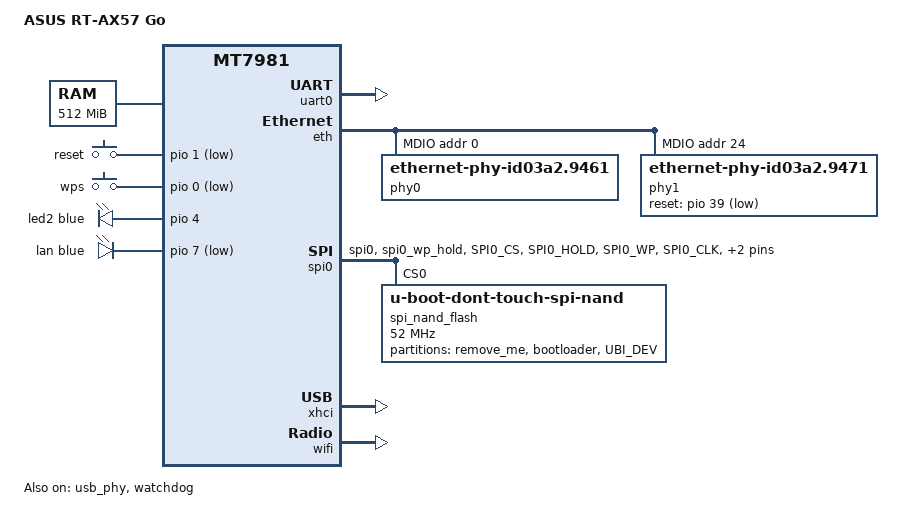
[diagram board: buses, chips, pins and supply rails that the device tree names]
// SPDX-License-Identifier: (GPL-2.0 OR MIT)

/dts-v1/;
#include "mt7981b.dtsi"
/ {
	model = "ASUS RT-AX57 Go";
	compatible = "asus,rt-ax57_go", "mediatek,mt7981";
	interrupt-parent = <0x01>;

	aliases {
		serial0 = &uart0;
		label-mac-device = &gmac0;
		led-boot = &led2;
		led-failsafe = &led2;
		led-running = &led2;
		led-upgrade = &led2;
	};

	chosen {
		stdout-path = "serial0:115200n8";
		bootargs-override = "";
	};

	memory@40000000 {
		reg = <0 0x40000000 0 0x20000000>;
		device_type = "memory";
	};

	keys {
		compatible = "gpio-keys";

		reset {
			label = "reset";
			gpios = <&pio 1 GPIO_ACTIVE_LOW>;
			linux,code = <KEY_RESTART>;
		};

		wps {
			label = "wps";
			gpios = <&pio 0 GPIO_ACTIVE_LOW>;
			linux,code = <KEY_WPS_BUTTON>;
		};
	};

	leds {
		compatible = "gpio-leds";

		led2: power {
			function = LED_FUNCTION_POWER;
			color = <LED_COLOR_ID_BLUE>;
			gpios = <&pio 4 GPIO_ACTIVE_HIGH>;
			default-state = "on";
		};

		lan {
			function = LED_FUNCTION_LAN;
			color = <LED_COLOR_ID_BLUE>;
			gpios = <&pio 7 GPIO_ACTIVE_LOW>;
		};

	};

	timer {
		clock-frequency = <13000000>;
	};
};

&uart0 {
	status = "okay";
};

&eth {
	#reset-cells = <0x01>;
	status = "okay";

	gmac0: mac@0 {
		/* LAN */
		compatible = "mediatek,eth-mac";
		reg = <0>;
		nvmem-cells = <&macaddr_factory_4>;
		nvmem-cell-names = "mac-address";
		phy-mode = "sgmii";
		phy-handle = <0x14>;
	};

	gmac1: mac@1 {
		/* WAN */
		compatible = "mediatek,eth-mac";
		reg = <1>;
		phy-mode = "gmii";
		phy-handle = <0x15>;
	};

	mdio-bus {
		#address-cells = <0x01>;
		#size-cells = <0x00>;

		phy0: ethernet-phy@0 {
			compatible = "ethernet-phy-id03a2.9461";
			reg = <0x00>;
			phy-mode = "gmii";
			nvmem-cells = <0x16>;
			nvmem-cell-names = "phy-cal-data";
			phandle = <0x15>;
		};

		phy1: ethernet-phy@5 {
			compatible = "ethernet-phy-id03a2.9471";
			reg = <0x18>;
			reset-gpios = <&pio 39 1>;
			reset-assert-us = <0x258>;
			reset-deassert-us = <0x4e20>;
			phy-mode = "sgmii";
			full-duplex;
			pause;
			phandle = <0x14>;
		};
	};

	
};

&spi0 {
	pinctrl-names = "default";
	pinctrl-0 = <&spi0_flash_pins>;
	status = "okay";

	spi_nand_flash: flash@0 {
		compatible = "u-boot-dont-touch-spi-nand";
		#address-cells = <1>;
		#size-cells = <1>;
		reg = <0>;

		spi-max-frequency = <52000000>;
		spi-tx-bus-width = <4>;
		spi-rx-bus-width = <4>;

		/*
		 * ASUS bootloader tries to replace the partitions defined in
		 * Device Tree and by that also deletes all additional properties
		 * needed for UBI and NVMEM-on-UBI.
		 * Prevent this from happening by tricking the loader to delete and
		 * replace a bait node instead (works with older bootloaders).
		 */
		partitions: dummy {
			compatible = "u-boot-dummy-partitions";
			#address-cells = <1>;
			#size-cells = <1>;

			partition@0 {
				reg = <0x0 0x0>;
				label = "remove_me";
			};
		};

		partitions {
			compatible = "fixed-partitions";
			#address-cells = <1>;
			#size-cells = <1>;

			partition@0 {
				reg = <0x0 0x400000>;
				label = "bootloader";
				read-only;
			};

			partition@400000 {
				compatible = "linux,ubi";
				reg = <0x400000 0x7c00000>;
				label = "UBI_DEV";

				volumes {
					ubi_factory: ubi-volume-factory {
						volname = "Factory";
					};
				};
			};
		};
	};
};

&ubi_factory {
	nvmem-layout {
		compatible = "fixed-layout";
		#address-cells = <1>;
		#size-cells = <1>;

		eeprom_factory_0: eeprom@0 {
			reg = <0x0 0x1000>;
		};

		macaddr_factory_4: macaddr@4 {
			reg = <0x4 0x6>;
		};

		precal_factory_1010: precal@1010 {
			reg = <0x1010 0x6f010>;
		};
	};
};

&usb_phy {
	status = "okay";
};

&xhci {
	status = "okay";
};

&pio {
	spi0_flash_pins: spi0-pins {
		phandle = <0x17>;

		mux {
			function = "spi";
			groups = "spi0", "spi0_wp_hold";
		};

		conf-pu {
			pins = "SPI0_CS", "SPI0_HOLD", "SPI0_WP";
			drive-strength = <MTK_DRIVE_8mA>;
			bias-pull-up = <MTK_PUPD_SET_R1R0_11>;
		};

		conf-pd {
			pins = "SPI0_CLK", "SPI0_MOSI", "SPI0_MISO";
			drive-strength = <MTK_DRIVE_8mA>;
			bias-pull-down = <MTK_PUPD_SET_R1R0_11>;
		};
	};
};

&watchdog {
	status = "okay";
};

&wifi {
	nvmem-cells = <&eeprom_factory_0>, <&precal_factory_1010>;
	nvmem-cell-names = "eeprom", "precal";

	status = "okay";
};
